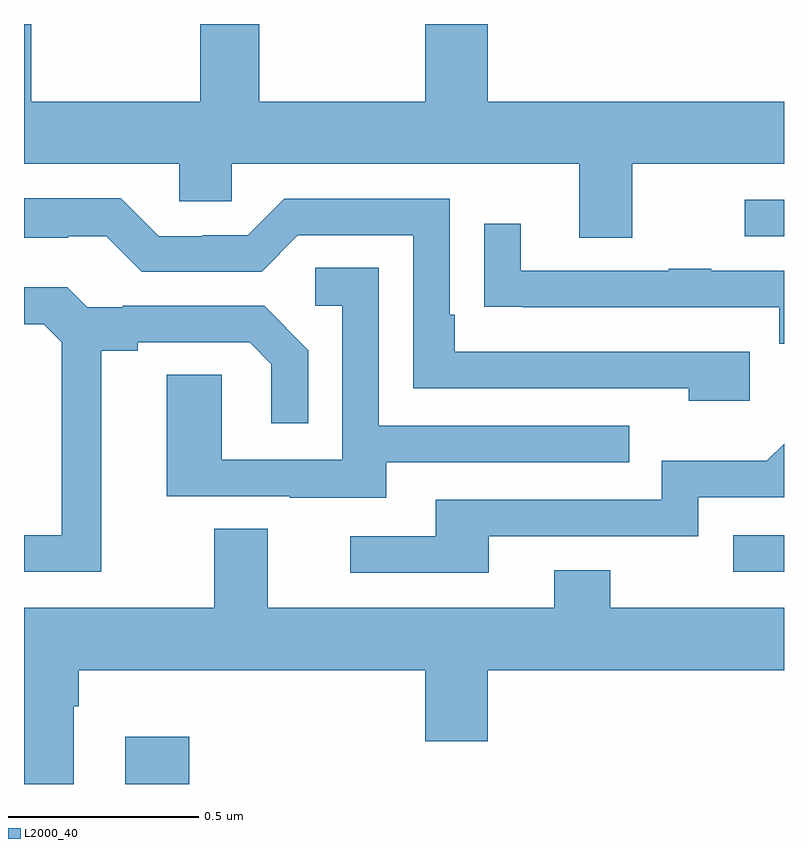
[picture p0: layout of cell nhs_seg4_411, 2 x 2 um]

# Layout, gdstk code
import gdstk
lib = gdstk.Library(unit=1e-6, precision=1e-09)
def R(c, l, rs):  # rectangles x0, y0, x1, y1
    for r in rs: c.add(gdstk.rectangle(r[:2], r[2:], *l))
def P(c, l, *ps):  # polygons
    for p in ps: c.add(gdstk.Polygon(p, *l))
L2000_40 = (2000, 40)

nhs_seg4_411 = lib.new_cell('nhs_seg4_411')
R(nhs_seg4_411, L2000_40, [(116.267,749.9,116.435,750.025), (117.867,750.459,118,750.555), (117.897,751.341,118,751.437)])
P(nhs_seg4_411, L2000_40, [(117.601,751.532),(118,751.532),(118,751.696),(117.22,751.696),(117.22,751.9),(117.056,751.9),(117.056,751.696),(116.619,751.696),(116.619,751.9),(116.464,751.9),(116.464,751.696),(116.019,751.696),(116.019,751.9),(116,751.9),(116,751.532),(116.409,751.532),(116.409,751.434),(116.547,751.434),(116.547,751.532),(117.461,751.532),(117.461,751.338),(117.601,751.338)],
  [(117.91,751.038),(117.133,751.038),(117.133,751.135),(117.12,751.135),(117.12,751.44),(116.685,751.44),(116.589,751.344),(116.471,751.344),(116.471,751.341),(116.355,751.341),(116.255,751.441),(116,751.441),(116,751.337),(116.117,751.337),(116.117,751.341),(116.217,751.341),(116.31,751.248),(116.625,751.248),(116.721,751.344),(117.024,751.344),(117.024,750.942),(117.749,750.942),(117.749,750.908),(117.91,750.908)],
  [(118,751.251),(117.809,751.251),(117.809,751.256),(117.697,751.256),(117.697,751.251),(117.307,751.251),(117.307,751.375),(117.211,751.375),(117.211,751.156),(117.313,751.156),(117.313,751.155),(117.988,751.155),(117.988,751.058),(118,751.058)],
  [(116.953,750.747),(117.593,750.747),(117.593,750.843),(116.934,750.843),(116.934,751.259),(116.766,751.259),(116.766,751.158),(116.838,751.158),(116.838,750.753),(116.52,750.753),(116.52,750.977),(116.375,750.977),(116.375,750.657),(116.699,750.657),(116.699,750.653),(116.953,750.653)],
  [(116.203,751.04),(116.299,751.04),(116.299,751.062),(116.594,751.062),(116.651,751.005),(116.651,750.849),(116.748,750.849),(116.748,751.042),(116.632,751.158),(116.26,751.158),(116.26,751.155),(116.166,751.155),(116.114,751.207),(116,751.207),(116,751.11),(116.052,751.11),(116.099,751.063),(116.099,750.555),(116,750.555),(116,750.459),(116.203,750.459)],
  [(117.223,750.552),(117.774,750.552),(117.774,750.654),(118,750.654),(118,750.796),(117.955,750.751),(117.678,750.751),(117.678,750.648),(117.083,750.648),(117.083,750.552),(116.859,750.552),(116.859,750.456),(117.223,750.456)],
  [(116.131,750.104),(116.144,750.104),(116.144,750.2),(117.056,750.2),(117.056,750.012),(117.22,750.012),(117.22,750.2),(118,750.2),(118,750.364),(117.543,750.364),(117.543,750.463),(117.395,750.463),(117.395,750.364),(116.641,750.364),(116.641,750.572),(116.501,750.572),(116.501,750.364),(116,750.364),(116,749.9),(116.131,749.9)])

lib.write_gds('nhs_seg4_411.gds')
